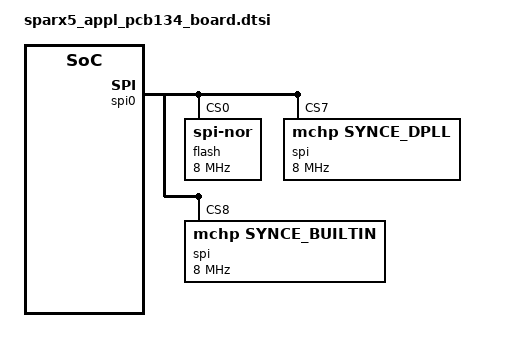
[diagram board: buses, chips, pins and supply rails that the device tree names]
// SPDX-License-Identifier: (GPL-2.0+ OR MIT)
/*
 * Copyright (c) 2023 Microchip Technology Inc. and its subsidiaries.
 */

#include "sparx5_pcb134_board.dtsi"
#include "sparx5_appl_pcb_common.dtsi"

/{
	aliases {
	    i2c0   = &i2c0;
	    i2c100 = &i2c_sfp1;
	    i2c101 = &i2c_sfp2;
	    i2c102 = &i2c_sfp3;
	    i2c103 = &i2c_sfp4;
	    i2c104 = &i2c_sfp5;
	    i2c105 = &i2c_sfp6;
	    i2c106 = &i2c_sfp7;
	    i2c107 = &i2c_sfp8;
	    i2c108 = &i2c_sfp9;
	    i2c109 = &i2c_sfp10;
	    i2c110 = &i2c_sfp11;
	    i2c111 = &i2c_sfp12;
	    i2c112 = &i2c_sfp13;
	    i2c113 = &i2c_sfp14;
	    i2c114 = &i2c_sfp15;
	    i2c115 = &i2c_sfp16;
	    i2c116 = &i2c_sfp17;
	    i2c117 = &i2c_sfp18;
	    i2c118 = &i2c_sfp19;
	    i2c119 = &i2c_sfp20;
	};
};

&spi0 {
	/delete-node/ spi@0;

	flash@0 {
		compatible = "jedec,spi-nor";
		spi-max-frequency = <8000000>;
		reg = <0>;
	};
	// synce module
	spi@7 {
		compatible = "mchp,synce_dpll";
		reg = <7>;
		pinctrl-0 = <&synce_pins>;
		pinctrl-names = "default";
		spi-max-frequency = <8000000>;
	};
	// redwood onboard ptp dpll
	spi@8 {
		compatible = "mchp,synce_builtin";
		reg = <8>;
		pinctrl-0 = <&synce_builtin_pins>;
		pinctrl-names = "default";
		spi-max-frequency = <8000000>;
	};
};

&gpio {
	/* Used for LED control, so only claim output pins */
	sgpio0_pins: sgpio-pins {
		pins = "GPIO_0", "GPIO_1";
		function = "sg0";
	};

	/* Used for LED control, so only claim output pins */
	sgpio1_pins: sgpio1-pins {
		pins = "GPIO_4", "GPIO_5";
		function = "sg1";
	};

	synce_pins: synce-pins {
		// CS7
		pins = "GPIO_28";
		function = "si";
	};

	synce_builtin_pins: synce-builtin-pins {
		// CS8
		pins = "GPIO_29";
		function = "si";
	};
};

&switch {
	status = "disabled";
	/delete-property/ resets;
	/delete-property/ reset-names;
	/delete-node/ ethernet-ports;
};

&axi {
	/delete-node/ sfp-eth12;
	/delete-node/ sfp-eth13;
	/delete-node/ sfp-eth14;
	/delete-node/ sfp-eth15;
	/delete-node/ sfp-eth48;
	/delete-node/ sfp-eth49;
	/delete-node/ sfp-eth50;
	/delete-node/ sfp-eth51;
	/delete-node/ sfp-eth52;
	/delete-node/ sfp-eth53;
	/delete-node/ sfp-eth54;
	/delete-node/ sfp-eth55;
	/delete-node/ sfp-eth56;
	/delete-node/ sfp-eth57;
	/delete-node/ sfp-eth58;
	/delete-node/ sfp-eth59;
	/delete-node/ sfp-eth60;
	/delete-node/ sfp-eth61;
	/delete-node/ sfp-eth62;
	/delete-node/ sfp-eth63;
};

&mdio3 {
	status = "disabled";
	/delete-node/ ethernet-phy@64;
};
